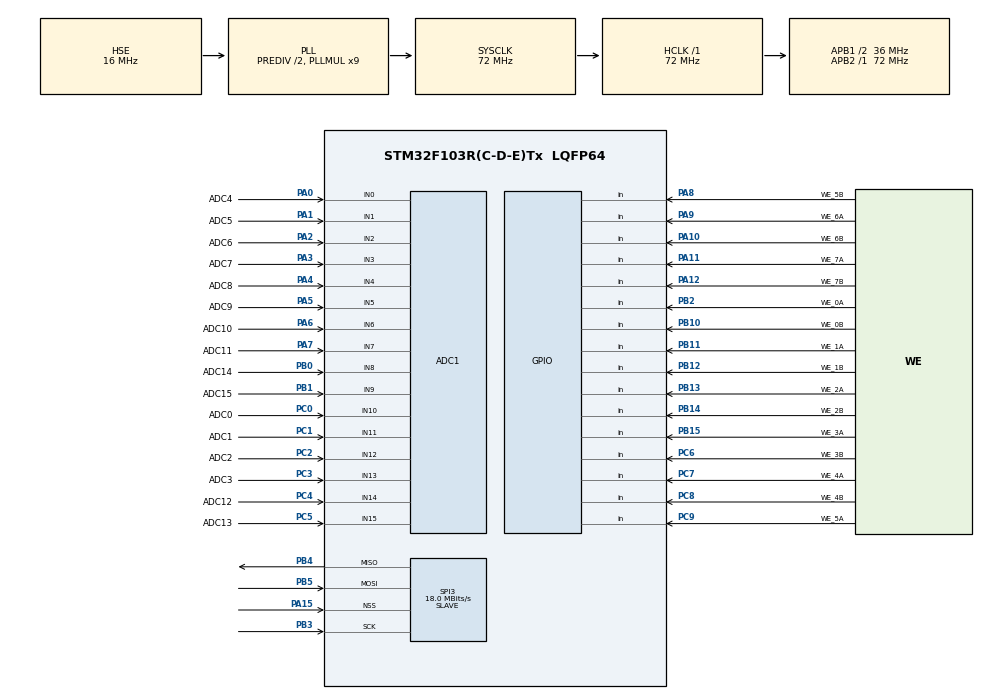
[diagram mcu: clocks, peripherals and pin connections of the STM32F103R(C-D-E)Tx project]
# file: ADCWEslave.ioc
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ADC1.Channel-0\#ChannelRegularConversion=ADC_CHANNEL_10
ADC1.Channel-1\#ChannelRegularConversion=ADC_CHANNEL_11
ADC1.Channel-16\#ChannelRegularConversion=ADC_CHANNEL_12
ADC1.ContinuousConvMode=ENABLE
ADC1.EnableInjectedConversion=DISABLE
ADC1.NbrOfConversion=3
ADC1.NbrOfConversionFlag=1
ADC1.Rank-0\#ChannelRegularConversion=1
ADC1.Rank-1\#ChannelRegularConversion=2
ADC1.Rank-16\#ChannelRegularConversion=3
ADC1.SamplingTime-0\#ChannelRegularConversion=ADC_SAMPLETIME_71CYCLES_5
ADC1.SamplingTime-1\#ChannelRegularConversion=ADC_SAMPLETIME_71CYCLES_5
ADC1.SamplingTime-16\#ChannelRegularConversion=ADC_SAMPLETIME_71CYCLES_5
ADC1.master=1
Dma.ADC1.2.Direction=DMA_PERIPH_TO_MEMORY
Dma.ADC1.2.Instance=DMA1_Channel1
Dma.ADC1.2.MemDataAlignment=DMA_MDATAALIGN_HALFWORD
Dma.ADC1.2.MemInc=DMA_MINC_ENABLE
Dma.ADC1.2.Mode=DMA_CIRCULAR
Dma.ADC1.2.PeriphDataAlignment=DMA_PDATAALIGN_HALFWORD
Dma.ADC1.2.PeriphInc=DMA_PINC_DISABLE
Dma.ADC1.2.Priority=DMA_PRIORITY_HIGH
Dma.Request0=SPI3_TX
Dma.Request1=SPI3_RX
Dma.Request2=ADC1
Dma.SPI3_RX.1.Direction=DMA_PERIPH_TO_MEMORY
Dma.SPI3_RX.1.Instance=DMA2_Channel1
Dma.SPI3_RX.1.MemDataAlignment=DMA_MDATAALIGN_BYTE
Dma.SPI3_RX.1.MemInc=DMA_MINC_ENABLE
Dma.SPI3_RX.1.Mode=DMA_CIRCULAR
Dma.SPI3_RX.1.PeriphDataAlignment=DMA_PDATAALIGN_BYTE
Dma.SPI3_RX.1.PeriphInc=DMA_PINC_DISABLE
Dma.SPI3_RX.1.Priority=DMA_PRIORITY_VERY_HIGH
Dma.SPI3_TX.0.Direction=DMA_MEMORY_TO_PERIPH
Dma.SPI3_TX.0.Instance=DMA2_Channel2
Dma.SPI3_TX.0.MemDataAlignment=DMA_MDATAALIGN_BYTE
Dma.SPI3_TX.0.MemInc=DMA_MINC_ENABLE
Dma.SPI3_TX.0.Mode=DMA_CIRCULAR
Dma.SPI3_TX.0.PeriphDataAlignment=DMA_PDATAALIGN_BYTE
Dma.SPI3_TX.0.PeriphInc=DMA_PINC_DISABLE
Dma.SPI3_TX.0.Priority=DMA_PRIORITY_VERY_HIGH
Mcu.Family=STM32F1
Mcu.Name=STM32F103R(C-D-E)Tx
Mcu.Package=LQFP64
NVIC.DMA1_Channel1_IRQn=true\:1\:0\:true\:false\:true\:false\:true
NVIC.DMA2_Channel1_IRQn=true\:1\:0\:true\:false\:true\:false\:true
NVIC.DMA2_Channel2_IRQn=true\:1\:0\:true\:false\:true\:false\:true
NVIC.PriorityGroup=NVIC_PRIORITYGROUP_4
NVIC.TIM6_IRQn=true\:1\:0\:true\:false\:true\:true\:true
PA0-WKUP.GPIO_Label=ADC4
PA0-WKUP.Signal=ADCx_IN0
PA1.GPIO_Label=ADC5
PA1.Signal=ADCx_IN1
PA10.GPIO_Label=WE_6B
PA10.Signal=GPIO_Input
PA11.GPIO_Label=WE_7A
PA11.Signal=GPIO_Input
PA12.GPIO_Label=WE_7B
PA12.Signal=GPIO_Input
PA13.Mode=Serial_Wire
PA13.Signal=SYS_JTMS-SWDIO
PA14.Mode=Serial_Wire
PA14.Signal=SYS_JTCK-SWCLK
PA15.Mode=NSS_Signal_Hard_Input
PA15.Signal=SPI3_NSS
PA2.GPIO_Label=ADC6
PA2.Signal=ADCx_IN2
PA3.GPIO_Label=ADC7
PA3.Signal=ADCx_IN3
PA4.GPIO_Label=ADC8
PA4.Signal=ADCx_IN4
PA5.GPIO_Label=ADC9
PA5.Signal=ADCx_IN5
PA6.GPIO_Label=ADC10
PA6.Signal=ADCx_IN6
PA7.GPIO_Label=ADC11
PA7.Signal=ADCx_IN7
PA8.GPIO_Label=WE_5B
PA8.Signal=GPIO_Input
PA9.GPIO_Label=WE_6A
PA9.Signal=GPIO_Input
PB0.GPIO_Label=ADC14
PB0.Signal=ADCx_IN8
PB1.GPIO_Label=ADC15
PB1.Signal=ADCx_IN9
PB10.GPIO_Label=WE_0B
PB10.Signal=GPIO_Input
PB11.GPIO_Label=WE_1A
PB11.Signal=GPIO_Input
PB12.GPIO_Label=WE_1B
PB12.Signal=GPIO_Input
PB13.GPIO_Label=WE_2A
PB13.Signal=GPIO_Input
PB14.GPIO_Label=WE_2B
PB14.Signal=GPIO_Input
PB15.GPIO_Label=WE_3A
PB15.Signal=GPIO_Input
PB2.GPIO_Label=WE_0A
PB2.Signal=GPIO_Input
PB3.Mode=Full_Duplex_Slave
PB3.Signal=SPI3_SCK
PB4.Mode=Full_Duplex_Slave
PB4.Signal=SPI3_MISO
PB5.Mode=Full_Duplex_Slave
PB5.Signal=SPI3_MOSI
PC0.GPIO_Label=ADC0
PC0.Signal=ADCx_IN10
PC1.GPIO_Label=ADC1
PC1.Signal=ADCx_IN11
PC2.GPIO_Label=ADC2
PC2.Signal=ADCx_IN12
PC3.GPIO_Label=ADC3
PC3.Signal=ADCx_IN13
PC4.GPIO_Label=ADC12
PC4.Signal=ADCx_IN14
PC5.GPIO_Label=ADC13
PC5.Signal=ADCx_IN15
PC6.GPIO_Label=WE_3B
PC6.Signal=GPIO_Input
PC7.GPIO_Label=WE_4A
PC7.Signal=GPIO_Input
PC8.GPIO_Label=WE_4B
PC8.Signal=GPIO_Input
PC9.GPIO_Label=WE_5A
PC9.Signal=GPIO_Input
PD0-OSC_IN.Mode=HSE-External-Oscillator
PD0-OSC_IN.Signal=RCC_OSC_IN
PD1-OSC_OUT.Mode=HSE-External-Oscillator
PD1-OSC_OUT.Signal=RCC_OSC_OUT
ProjectManager.HeapSize=0x200
ProjectManager.StackSize=0x400
ProjectManager.TargetToolchain=STM32CubeIDE
RCC.ADCPresc=RCC_ADCPCLK2_DIV6
RCC.AHBFreq_Value=72000000
RCC.APB1CLKDivider=RCC_HCLK_DIV2
RCC.APB1Freq_Value=36000000
RCC.APB1TimFreq_Value=72000000
RCC.APB2Freq_Value=72000000
RCC.APB2TimFreq_Value=72000000
RCC.HCLKFreq_Value=72000000
RCC.HSEDivPLL=RCC_HSE_PREDIV_DIV2
RCC.HSE_VALUE=16000000
RCC.PLLMUL=RCC_PLL_MUL9
RCC.PLLSourceVirtual=RCC_PLLSOURCE_HSE
RCC.SYSCLKFreq_VALUE=72000000
RCC.SYSCLKSource=RCC_SYSCLKSOURCE_PLLCLK
RCC.USBFreq_Value=72000000
SH.ADCx_IN0.0=ADC1_IN0,IN0
SH.ADCx_IN1.0=ADC1_IN1,IN1
SH.ADCx_IN10.0=ADC1_IN10,IN10
SH.ADCx_IN11.0=ADC1_IN11,IN11
SH.ADCx_IN12.0=ADC1_IN12,IN12
SH.ADCx_IN13.0=ADC1_IN13,IN13
SH.ADCx_IN14.0=ADC1_IN14,IN14
SH.ADCx_IN15.0=ADC1_IN15,IN15
SH.ADCx_IN2.0=ADC1_IN2,IN2
SH.ADCx_IN3.0=ADC1_IN3,IN3
SH.ADCx_IN4.0=ADC1_IN4,IN4
SH.ADCx_IN5.0=ADC1_IN5,IN5
SH.ADCx_IN6.0=ADC1_IN6,IN6
SH.ADCx_IN7.0=ADC1_IN7,IN7
SH.ADCx_IN8.0=ADC1_IN8,IN8
SH.ADCx_IN9.0=ADC1_IN9,IN9
SPI3.BaudRatePrescaler=SPI_BAUDRATEPRESCALER_2
SPI3.CLKPhase=SPI_PHASE_2EDGE
SPI3.CalculateBaudRate=18.0 MBits/s
SPI3.Direction=SPI_DIRECTION_2LINES
SPI3.Mode=SPI_MODE_SLAVE
SPI3.VirtualNSS=VM_NSSHARD
SPI3.VirtualType=VM_SLAVE
TIM6.Period=30-1
TIM6.Prescaler=72-1
VP_TIM6_VS_ClockSourceINT.Mode=Enable_Timer
board=custom

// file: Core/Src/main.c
/* USER CODE BEGIN Header */
/**
  ******************************************************************************
  * @file           : main.c
  * @brief          : Main program body
  ******************************************************************************
  * @attention
  *
  * <h2><center>&copy; Copyright (c) 2021 STMicroelectronics.
  * All rights reserved.</center></h2>
  *
  * This software component is licensed by ST under BSD 3-Clause license,
  * the "License"; You may not use this file except in compliance with the
  * License. You may obtain a copy of the License at:
  *                        opensource.org/licenses/BSD-3-Clause
  *
  ******************************************************************************
  */
/* USER CODE END Header */
#include "main.h"
#include "adc.h"
#include "dma.h"
#include "spi.h"
#include "tim.h"
#include "gpio.h"

/* USER CODE BEGIN Includes */
//#include "stdio.h"
//#include "string.h"
/* USER CODE END Includes */

/* USER CODE BEGIN PV */

//for communication
uint8_t tx_buffer[BUFFER_SIZE_SPI3] = {0x0a, 0x0b, 0x1a, 0x1b, 0x2a, 0x2b, 0x3a, 0x3b};
uint8_t rx_buffer[BUFFER_SIZE_SPI3] = {READ_CONFIG,0,0x00,0x00,0,0x00,0x00,0x00};
uint8_t buffer_updated = 0;
Controller_State slave_state = READ_CONFIG;

//for wire encoder
int WireLength[ENCODER_NUMBER] = {0};
int WireLength_mm[ENCODER_NUMBER] = {0};
unsigned char pointer_ENC[ENCODER_NUMBER] = {0};
uint8_t readpin[ENCODER_NUMBER] = {0};
static struct Encoder_SIGNAL_Info ENC_infos[ENCODER_NUMBER] = {{WE_0A_Pin, WE_0B_Pin, WE_0A_GPIO_Port, WE_0B_GPIO_Port}, {WE_1A_Pin, WE_1B_Pin, WE_1A_GPIO_Port, WE_1B_GPIO_Port}, {WE_2A_Pin, WE_2B_Pin, WE_2A_GPIO_Port, WE_2B_GPIO_Port}};
int count = 0; int count2 = 0;

//for air pressure sensor
//uint32_t adc_val[ADC_NUMBER];
uint16_t adc_buffer[ADC_NUMBER];
int i;

/* USER CODE END PV */

void SystemClock_Config(void);
/* USER CODE BEGIN PFP */
//static inline void copy_buffer(uint8_t dest_buffer[], uint8_t dest_size, uint8_t src_buffer[], uint8_t src_size) {
//  for (uint8_t idx = 0; idx < src_size; idx++) {
//    dest_buffer[idx] = src_buffer[idx];
//  }
//}

static inline void set_state(uint8_t command_idx) {
  switch (command_idx) {
    case 0xFD: //11111101, 253
      slave_state = WIREENCODER;
      break;

    case 0xFC: //11111100, 252
          slave_state = AIRPRESSURE;
          break;

    case 0xFB: //11111011, 252
      slave_state = CHECKING_SPI;
      break;

    default:
      slave_state = READ_CONFIG;
  }
}

void HAL_SPI_TxRxCpltCallback(SPI_HandleTypeDef *hspi) {
	if (hspi->Instance == SPI3) {
//		tx_buffer[7] = slave_state;
		HAL_SPI_TransmitReceive_DMA(&hspi3, tx_buffer, rx_buffer, BUFFER_SIZE_SPI3);
        buffer_updated = 1;
//        tx_buffer[0] = rx_buffer[0];
	}
	set_state(rx_buffer[0]);
	count++;
//	static short Led = 1;
//	if(count >= 10000){
//		HAL_GPIO_WritePin(LD2_GPIO_Port, LD2_Pin, Led);
//		Led = 1 - Led;
//		count = 0;
//	}
}

void HAL_TIM_PeriodElapsedCallback(TIM_HandleTypeDef *htim)
{
	if (htim == &htim6){
		int d[16]={0,-1,1,0,1,0,0,-1,-1,0,0,1,0,1,-1,0}; //1:cw, -1:ccw, 0:none
		for(i = 0; i < ENCODER_NUMBER; i++){
			readpin[i] = (HAL_GPIO_ReadPin(ENC_infos[i].A_port, ENC_infos[i].A_pin) << 1) | HAL_GPIO_ReadPin(ENC_infos[i].B_port, ENC_infos[i].B_pin);
			pointer_ENC[i] = (pointer_ENC[i] <<2 | readpin[i]) & 0x0f;
			WireLength[i] += d[pointer_ENC[i]];
		}
	}
//	static short Led = 1;
//	if(count2 >= 10000){
//		HAL_GPIO_WritePin(LD2_GPIO_Port, LD2_Pin, Led);
//		Led = 1 - Led;
//		count2 = 0;
//	}
//	count2++;
}

void HAL_ADC_ConvCpltCallback(ADC_HandleTypeDef* AdcHandle)
{
  //After AD Convert
}

/* USER CODE END PFP */

int main(void)
{

  /* MCU Configuration--------------------------------------------------------*/

  /* Reset of all peripherals, Initializes the Flash interface and the Systick. */
  HAL_Init();

  /* Configure the system clock */
  SystemClock_Config();

  /* Initialize all configured peripherals */
  MX_GPIO_Init();
  MX_DMA_Init();
  MX_SPI3_Init();
  MX_ADC1_Init();
  MX_TIM6_Init();
  /* USER CODE BEGIN 2 */
  HAL_TIM_Base_Start_IT(&htim6);

  /* Configure Regular Channel */
//  sConfig.Channel = ADC_CHANNEL_1;
//  sConfig.Rank = 1;
//  sConfig.SingleDiff = ADC_SINGLE_ENDED;
//  sConfig.SamplingTime = ADC_SAMPLETIME_1CYCLE_5;
//  sConfig.OffsetNumber = ADC_OFFSET_NONE;
//  sConfig.Offset = 0;
//  if (HAL_ADC_ConfigChannel(&hadc1, &sConfig) != HAL_OK)
//  {
//    Error_Handler();
//  }
//  sConfig.Channel = ADC_CHANNEL_2;
//  sConfig.Rank = 2;
//  if (HAL_ADC_ConfigChannel(&hadc1, &sConfig) != HAL_OK)
//  {
//    Error_Handler();
//  }
//  sConfig.Channel = ADC_CHANNEL_3;
//  sConfig.Rank = 3;
//  if (HAL_ADC_ConfigChannel(&hadc1, &sConfig) != HAL_OK)
//  {
//    Error_Handler();
//  }
  /* USER CODE END 2 */

  /* Infinite loop */
  /* USER CODE BEGIN WHILE */
  HAL_SPI_TransmitReceive_DMA(&hspi3, tx_buffer, rx_buffer, BUFFER_SIZE_SPI3);
  HAL_ADC_Start_DMA(&hadc1, (uint32_t*)adc_buffer, ADC_NUMBER);
  while (1)
  {
	  count2++;
    /* USER CODE END WHILE */

    /* USER CODE BEGIN 3 */
	  switch(slave_state) {
		  case READ_CONFIG:
//	  			  copy_buffer(tx_buffer, BUFFER_SIZE_SPI1, rx_buffer, BUFFER_SIZE_SPI1);
			  if (buffer_updated == 1) {
				  buffer_updated = 0;
			  }
			  break;

		  case CHECKING_SPI:
//	  			  copy_buffer(tx_buffer, BUFFER_SIZE_SPI1, rx_buffer, BUFFER_SIZE_SPI1);
//	  			  tx_buffer[0] = rx_buffer[0];
			  if (buffer_updated == 1) {
				  buffer_updated = 0;
  //				  tx_buffer[1] = 0x00;
  //				  tx_buffer[2] = 0x00;
  //				  tx_buffer[3] = 0x00;
  //				  tx_buffer[4] = 0x00;
  //				  tx_buffer[5] = 0x00;
  //				  tx_buffer[6] = 0x00;
				  tx_buffer[1] = 0xfc;
				  tx_buffer[2] = 0xfc;
				  tx_buffer[3] = 0xfc;
				  tx_buffer[4] = 0xfc;
				  tx_buffer[5] = 0xfc;
				  tx_buffer[6] = 0xfc;
			  }
			  break;
		  case WIREENCODER:
			  if (buffer_updated == 1) {
//	  				copy_buffer(tx_buffer, BUFFER_SIZE_SPI1, rx_buffer, BUFFER_SIZE_SPI1);
				//tx_buffer[0] = rx_buffer[0];
  //				  HAL_PWR_EnterSLEEPMode(PWR_LOWPOWERREGULATOR_ON, PWR_SLEEPENTRY_WFI);
  //				  uint8_t L1 = 0; uint8_t L2 = 0;
				  for(i = 0; i < ENCODER_NUMBER; i++){
					  if(WireLength[0] >= 0){
						  tx_buffer[2*i] = WireLength[i] >> 8;
						  tx_buffer[2*i+1] = WireLength[i];
					  }
					  else{
						  tx_buffer[2*i] = 0;
						  tx_buffer[2*i+1] = 0;
					  }
				  }
				  buffer_updated = 0;
			  }
			  break;
		  case AIRPRESSURE:
//	  			  copy_buffer(tx_buffer, BUFFER_SIZE_SPI1, rx_buffer, BUFFER_SIZE_SPI1);
			  for(i = 0; i < ADC_NUMBER; i++){
				  tx_buffer[2*i] = (uint8_t)(adc_buffer[i] >> 8);
				  tx_buffer[2*i+1] = (uint8_t)adc_buffer[i];
			  }
			  if (buffer_updated == 1) {
				  buffer_updated = 0;
			  }
			  break;
	  }
  }
  /* USER CODE END 3 */
}

void SystemClock_Config(void)
{
  RCC_OscInitTypeDef RCC_OscInitStruct = {0};
  RCC_ClkInitTypeDef RCC_ClkInitStruct = {0};
  RCC_PeriphCLKInitTypeDef PeriphClkInit = {0};

  /** Initializes the RCC Oscillators according to the specified parameters
  * in the RCC_OscInitTypeDef structure.
  */
  RCC_OscInitStruct.OscillatorType = RCC_OSCILLATORTYPE_HSE;
  RCC_OscInitStruct.HSEState = RCC_HSE_ON;
  RCC_OscInitStruct.HSEPredivValue = RCC_HSE_PREDIV_DIV2;
  RCC_OscInitStruct.HSIState = RCC_HSI_ON;
  RCC_OscInitStruct.PLL.PLLState = RCC_PLL_ON;
  RCC_OscInitStruct.PLL.PLLSource = RCC_PLLSOURCE_HSE;
  RCC_OscInitStruct.PLL.PLLMUL = RCC_PLL_MUL9;
  if (HAL_RCC_OscConfig(&RCC_OscInitStruct) != HAL_OK)
  {
    Error_Handler();
  }
  /** Initializes the CPU, AHB and APB buses clocks
  */
  RCC_ClkInitStruct.ClockType = RCC_CLOCKTYPE_HCLK|RCC_CLOCKTYPE_SYSCLK
                              |RCC_CLOCKTYPE_PCLK1|RCC_CLOCKTYPE_PCLK2;
  RCC_ClkInitStruct.SYSCLKSource = RCC_SYSCLKSOURCE_PLLCLK;
  RCC_ClkInitStruct.AHBCLKDivider = RCC_SYSCLK_DIV1;
  RCC_ClkInitStruct.APB1CLKDivider = RCC_HCLK_DIV2;
  RCC_ClkInitStruct.APB2CLKDivider = RCC_HCLK_DIV1;

  if (HAL_RCC_ClockConfig(&RCC_ClkInitStruct, FLASH_LATENCY_2) != HAL_OK)
  {
    Error_Handler();
  }
  PeriphClkInit.PeriphClockSelection = RCC_PERIPHCLK_ADC;
  PeriphClkInit.AdcClockSelection = RCC_ADCPCLK2_DIV6;
  if (HAL_RCCEx_PeriphCLKConfig(&PeriphClkInit) != HAL_OK)
  {
    Error_Handler();
  }
}

void Error_Handler(void)
{
}

/************************ (C) COPYRIGHT STMicroelectronics *****END OF FILE****/
